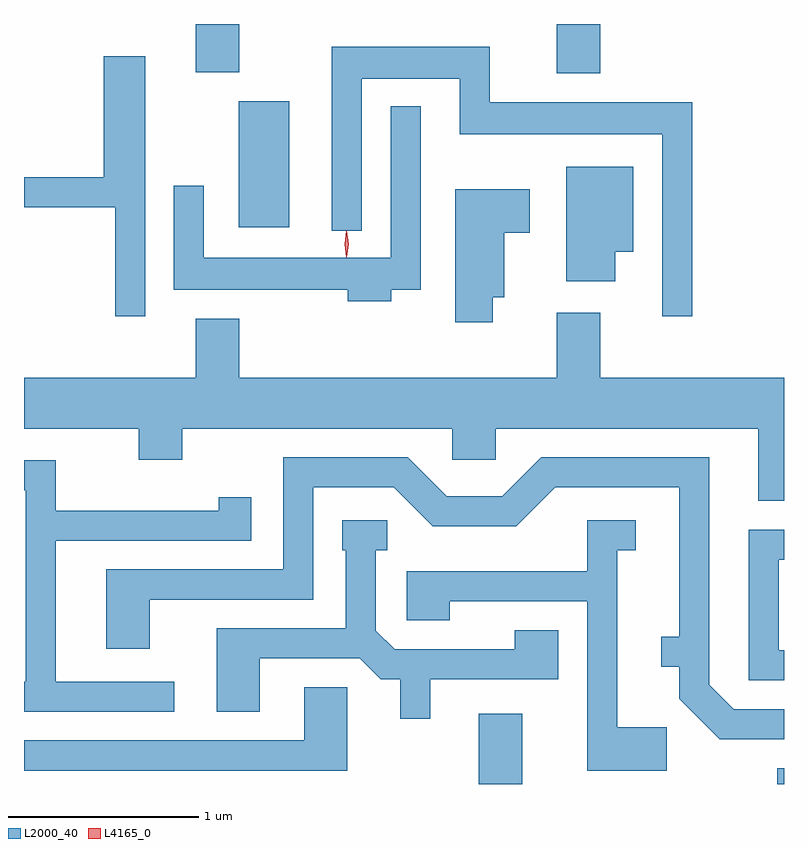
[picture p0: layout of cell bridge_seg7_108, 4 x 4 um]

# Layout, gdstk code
import gdstk
lib = gdstk.Library(unit=1e-6, precision=1e-09)
def R(c, l, rs):  # rectangles x0, y0, x1, y1
    for r in rs: c.add(gdstk.rectangle(r[:2], r[2:], *l))
def P(c, l, *ps):  # polygons
    for p in ps: c.add(gdstk.Polygon(p, *l))
L2000_40 = (2000, 40)
L4165_0 = (4165, 0)

bridge_seg7_108 = lib.new_cell('bridge_seg7_108')
R(bridge_seg7_108, L2000_40, [(1584.421,1790.145,1584.649,1790.514), (1585.991,1790.145,1586.027,1790.229), (1583.156,1793.076,1583.424,1793.739), (1584.831,1793.886,1585.059,1794.145), (1582.931,1793.891,1583.159,1794.145)])
P(bridge_seg7_108, L2000_40, [(1585.544,1793.734),(1584.479,1793.734),(1584.479,1794.024),(1583.646,1794.024),(1583.646,1793.058),(1583.804,1793.058),(1583.804,1793.856),(1584.321,1793.856),(1584.321,1793.566),(1585.386,1793.566),(1585.386,1792.608),(1585.544,1792.608)],
  [(1582.664,1793.974),(1582.446,1793.974),(1582.446,1793.339),(1582.027,1793.339),(1582.027,1793.181),(1582.506,1793.181),(1582.506,1792.608),(1582.664,1792.608)],
  [(1583.959,1792.746),(1584.114,1792.746),(1584.114,1793.713),(1583.956,1793.713),(1583.956,1792.914),(1582.974,1792.914),(1582.974,1793.293),(1582.816,1793.293),(1582.816,1792.746),(1583.731,1792.746),(1583.731,1792.686),(1583.959,1792.686)],
  [(1585.139,1792.946),(1585.234,1792.946),(1585.234,1793.394),(1584.881,1793.394),(1584.881,1792.791),(1585.139,1792.791)],
  [(1584.494,1792.706),(1584.554,1792.706),(1584.554,1793.046),(1584.689,1793.046),(1584.689,1793.274),(1584.296,1793.274),(1584.296,1792.576),(1584.494,1792.576)],
  [(1583.159,1792.594),(1582.931,1792.594),(1582.931,1792.284),(1582.027,1792.284),(1582.027,1792.016),(1582.631,1792.016),(1582.631,1791.851),(1582.859,1791.851),(1582.859,1792.016),(1584.281,1792.016),(1584.281,1791.851),(1584.509,1791.851),(1584.509,1792.016),(1585.891,1792.016),(1585.891,1791.636),(1586.027,1791.636),(1586.027,1792.284),(1585.059,1792.284),(1585.059,1792.624),(1584.831,1792.624),(1584.831,1792.284),(1583.159,1792.284)],
  [(1586.027,1790.539),(1585.762,1790.539),(1585.634,1790.667),(1585.634,1791.864),(1584.749,1791.864),(1584.544,1791.659),(1584.252,1791.659),(1584.047,1791.864),(1583.391,1791.864),(1583.391,1791.274),(1582.461,1791.274),(1582.461,1790.856),(1582.689,1790.856),(1582.689,1791.116),(1583.549,1791.116),(1583.549,1791.706),(1583.974,1791.706),(1584.179,1791.501),(1584.617,1791.501),(1584.822,1791.706),(1585.476,1791.706),(1585.476,1790.919),(1585.381,1790.919),(1585.381,1790.761),(1585.476,1790.761),(1585.476,1790.594),(1585.689,1790.381),(1586.027,1790.381)],
  [(1582.818,1790.684),(1582.194,1790.684),(1582.194,1791.426),(1583.224,1791.426),(1583.224,1791.654),(1583.051,1791.654),(1583.051,1791.584),(1582.194,1791.584),(1582.194,1791.849),(1582.027,1791.849),(1582.027,1791.691),(1582.036,1791.691),(1582.036,1790.684),(1582.027,1790.684),(1582.027,1790.526),(1582.818,1790.526)],
  [(1584.164,1790.696),(1584.839,1790.696),(1584.839,1790.954),(1584.611,1790.954),(1584.611,1790.854),(1583.977,1790.854),(1583.879,1790.952),(1583.879,1791.376),(1583.938,1791.376),(1583.938,1791.534),(1583.701,1791.534),(1583.701,1791.376),(1583.721,1791.376),(1583.721,1790.964),(1583.041,1790.964),(1583.041,1790.526),(1583.269,1790.526),(1583.269,1790.806),(1583.794,1790.806),(1583.904,1790.696),(1584.006,1790.696),(1584.006,1790.488),(1584.164,1790.488)],
  [(1585.409,1790.444),(1585.149,1790.444),(1585.149,1791.376),(1585.248,1791.376),(1585.248,1791.534),(1584.991,1791.534),(1584.991,1791.264),(1584.041,1791.264),(1584.041,1791.006),(1584.269,1791.006),(1584.269,1791.106),(1584.991,1791.106),(1584.991,1790.216),(1585.409,1790.216)],
  [(1586.027,1790.849),(1585.999,1790.849),(1585.999,1791.326),(1586.027,1791.326),(1586.027,1791.484),(1585.841,1791.484),(1585.841,1790.691),(1586.027,1790.691)],
  [(1583.729,1790.654),(1583.501,1790.654),(1583.501,1790.374),(1582.027,1790.374),(1582.027,1790.216),(1583.729,1790.216)])
P(bridge_seg7_108, L4165_0, [(1583.724,1792.917),(1583.715,1792.986),(1583.724,1793.056),(1583.725,1793.056),(1583.725,1793.056),(1583.735,1792.986),(1583.725,1792.917),(1583.725,1792.917)],
  [(1583.725,1792.919),(1583.725,1792.92),(1583.715,1792.986),(1583.725,1793.052),(1583.725,1793.053),(1583.726,1793.052),(1583.735,1792.986),(1583.726,1792.92)])

lib.write_gds('bridge_seg7_108.gds')
